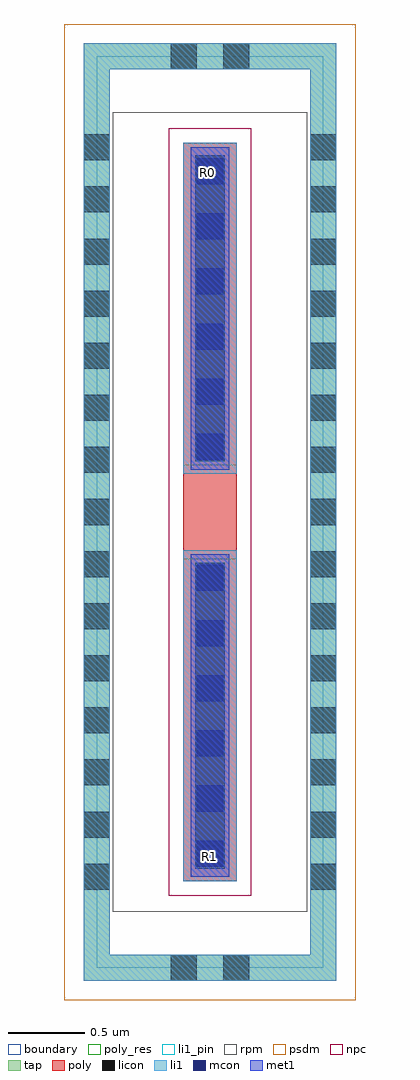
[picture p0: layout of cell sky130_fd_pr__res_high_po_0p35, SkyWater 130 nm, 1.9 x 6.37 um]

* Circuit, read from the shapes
.subckt sky130_fd_pr__res_high_po_0p35 R0 R1
XR1 R0 R1 VSUBS sky130_fd_pr__res_high_po w=0.35 l=0.5
.ends

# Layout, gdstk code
import gdstk
lib = gdstk.Library(unit=1e-6, precision=1e-09)
def R(c, l, rs):  # rectangles x0, y0, x1, y1
    for r in rs: c.add(gdstk.rectangle(r[:2], r[2:], *l))
def A(c, l, x, y, w, h, nx, ny, dx, dy):  # array of equal rectangles
    R(c, l, [(x+i*dx, y+j*dy, x+i*dx+w, y+j*dy+h) for i in range(nx) for j in range(ny)])
tap = (65, 44)
poly_res = (66, 13)
poly = (66, 20)
licon = (66, 44)
li1_pin = (67, 16)
li1 = (67, 20)
mcon = (67, 44)
met1 = (68, 20)
rpm = (86, 20)
psdm = (94, 20)
npc = (95, 20)
boundary = (235, 4)

sky130_fd_pr__res_high_p = lib.new_cell('sky130_fd_pr__res_high_po_0p35')
R(sky130_fd_pr__res_high_p, tap, [(-0.885,-0.885,0.765,-0.715), (-0.885,-0.715,-0.715,5.065), (0.595,-0.715,0.765,5.065), (-0.885,5.065,0.765,5.235)])
R(sky130_fd_pr__res_high_p, poly_res, [(-0.235,1.865,0.115,2.485)])
R(sky130_fd_pr__res_high_p, poly, [(-0.235,-0.235,0.115,4.585)])
A(sky130_fd_pr__res_high_p, licon, -0.885, -0.29, 0.17, 0.17, 1, 15, 0, 0.34)
A(sky130_fd_pr__res_high_p, licon, 0.595, -0.29, 0.17, 0.17, 1, 15, 0, 0.34)
R(sky130_fd_pr__res_high_p, licon, [(-0.315,-0.885,-0.145,-0.715), (0.025,-0.885,0.195,-0.715), (-0.155,-0.155,0.035,1.845), (-0.155,2.505,0.035,4.505), (-0.315,5.065,-0.145,5.235), (0.025,5.065,0.195,5.235)])
R(sky130_fd_pr__res_high_p, li1_pin, [(-0.107,-0.118,-0.006,-0.003), (-0.116,4.347,-0.015,4.462)])
R(sky130_fd_pr__res_high_p, li1, [(-0.885,-0.885,0.765,-0.715), (-0.885,-0.715,-0.715,5.065), (0.595,-0.715,0.765,5.065), (-0.235,-0.235,0.115,1.925), (-0.235,2.425,0.115,4.585), (-0.885,5.065,0.765,5.235)])
A(sky130_fd_pr__res_high_p, mcon, -0.145, -0.14, 0.17, 0.17, 1, 6, 0, 0.36)
A(sky130_fd_pr__res_high_p, mcon, -0.145, 2.515, 0.17, 0.17, 1, 6, 0, 0.36)
R(sky130_fd_pr__res_high_p, met1, [(-0.185,-0.205,0.065,1.9), (-0.185,2.45,0.065,4.555)])
R(sky130_fd_pr__res_high_p, rpm, [(-0.695,-0.435,0.575,4.785)])
R(sky130_fd_pr__res_high_p, psdm, [(-1.01,-1.01,0.89,5.36)])
R(sky130_fd_pr__res_high_p, npc, [(-0.33,-0.33,0.21,4.68)])
R(sky130_fd_pr__res_high_p, boundary, [(-0.8,-0.8,0.68,5.15)])
sky130_fd_pr__res_high_p.add(gdstk.Label('R0', (-0.075,4.393), layer=67, texttype=5))
sky130_fd_pr__res_high_p.add(gdstk.Label('R1', (-0.066,-0.072), layer=67, texttype=5))

lib.write_gds('sky130_fd_pr__res_high_po_0p35.gds')
